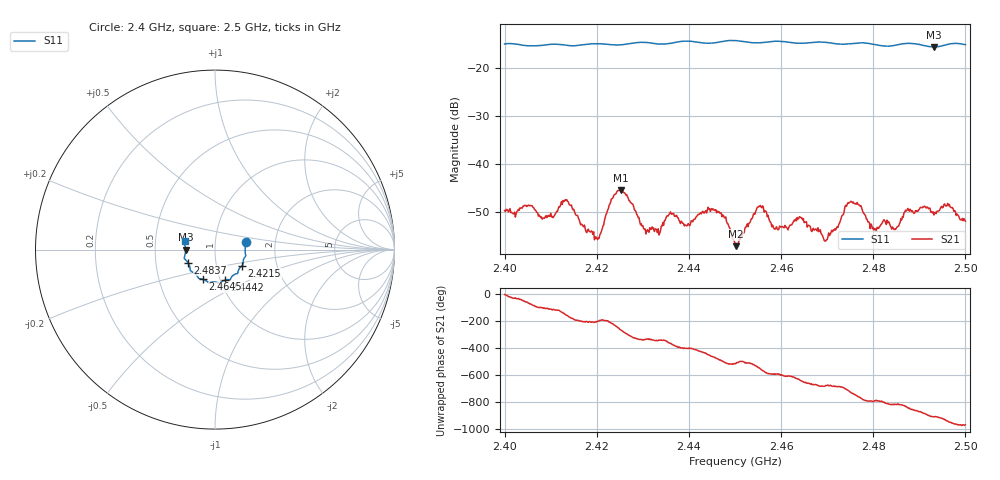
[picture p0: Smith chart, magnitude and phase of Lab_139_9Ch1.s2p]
# Hz S RI R 50
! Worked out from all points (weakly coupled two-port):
!   601 points, 2.4 GHz to 2.5 GHz, reference 50 ohm
!   highest |S21| = -45.45 dB at 2.4252 GHz (marker M1); lowest = -57.1 dB at 2.4502 GHz (marker M2)
!   lowest |S11| = -15.7 dB at 2.4932 GHz (marker M3), VSWR 1.39, Z = 35.9 - j0.0511 ohm
!   |S11| at or under -10 dB: start of sweep to end of sweep
!   S12 and S22 are empty: the file has one direction only
!   S11 on the Smith chart (normalised r, x): 2.4 GHz: 1.41, +0.12; 2.4215 GHz: 1.33, -0.25; 2.4442 GHz: 1.05, -0.37; 2.4645 GHz: 0.83, -0.29; 2.4837 GHz: 0.73, -0.11; 2.5 GHz: 0.71, +0.07
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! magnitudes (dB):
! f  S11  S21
! 2.4 GHz  -15.1  -49.7
! 2.4087 GHz  -15.3  -51.3
! 2.4132 GHz  -15.3  -47.4
! 2.4167 GHz  -15.3  -52.5
! 2.42 GHz  -15.0  -55.3
! 2.4215 GHz  -15.1  -52.7
! 2.4252 GHz  -15.3  -45.4
! 2.4333 GHz  -15.1  -53.5
! 2.4442 GHz  -15.0  -49.0
! 2.45 GHz  -14.4  -56.4
! 2.4502 GHz  -14.4  -57.1
! 2.4552 GHz  -14.9  -48.9
! 2.459 GHz  -14.5  -53.1
! 2.4645 GHz  -15.0  -51.2
! 2.4667 GHz  -14.8  -54.1
! 2.4697 GHz  -14.8  -56.1
! 2.4752 GHz  -15.1  -47.8
! 2.4802 GHz  -15.2  -53.7
! 2.4833 GHz  -15.6  -52.0
! 2.4837 GHz  -15.5  -52.8
! 2.4932 GHz  -15.7  -50.6
! 2.5 GHz  -15.2  -51.9
